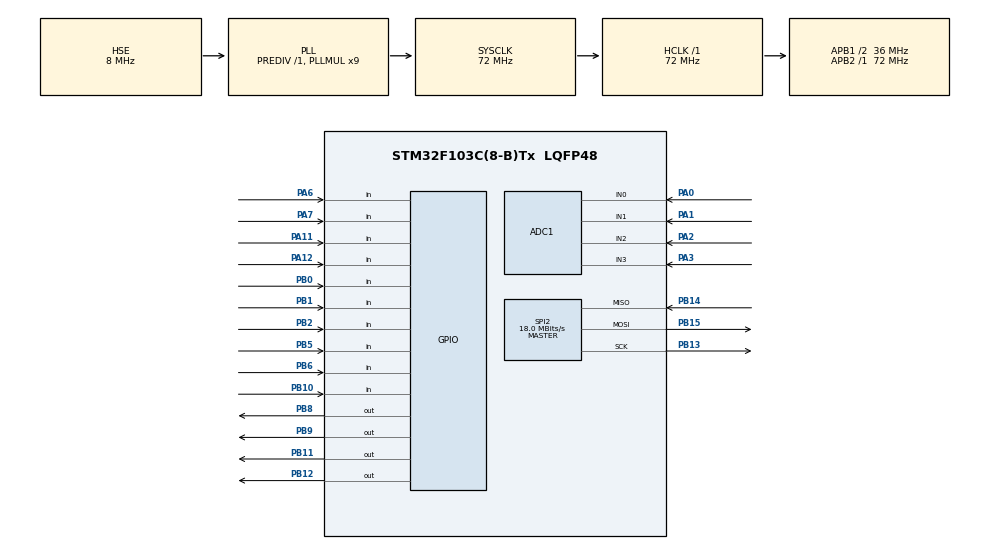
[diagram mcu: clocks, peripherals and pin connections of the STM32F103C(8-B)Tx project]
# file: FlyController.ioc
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ADC1.Channel-0\#ChannelRegularConversion=ADC_CHANNEL_0
ADC1.Channel-1\#ChannelRegularConversion=ADC_CHANNEL_1
ADC1.Channel-2\#ChannelRegularConversion=ADC_CHANNEL_2
ADC1.Channel-3\#ChannelRegularConversion=ADC_CHANNEL_3
ADC1.ContinuousConvMode=DISABLE
ADC1.DataAlign=ADC_DATAALIGN_RIGHT
ADC1.EnableInjectedConversion=DISABLE
ADC1.InjNumberOfConversion=0
ADC1.NbrOfConversion=4
ADC1.NbrOfConversionFlag=1
ADC1.Rank-0\#ChannelRegularConversion=1
ADC1.Rank-1\#ChannelRegularConversion=2
ADC1.Rank-2\#ChannelRegularConversion=3
ADC1.Rank-3\#ChannelRegularConversion=4
ADC1.SamplingTime-0\#ChannelRegularConversion=ADC_SAMPLETIME_71CYCLES_5
ADC1.SamplingTime-1\#ChannelRegularConversion=ADC_SAMPLETIME_71CYCLES_5
ADC1.SamplingTime-2\#ChannelRegularConversion=ADC_SAMPLETIME_71CYCLES_5
ADC1.SamplingTime-3\#ChannelRegularConversion=ADC_SAMPLETIME_71CYCLES_5
ADC1.master=1
Dma.ADC1.0.Direction=DMA_PERIPH_TO_MEMORY
Dma.ADC1.0.Instance=DMA1_Channel1
Dma.ADC1.0.MemDataAlignment=DMA_MDATAALIGN_HALFWORD
Dma.ADC1.0.MemInc=DMA_MINC_ENABLE
Dma.ADC1.0.Mode=DMA_NORMAL
Dma.ADC1.0.PeriphDataAlignment=DMA_PDATAALIGN_HALFWORD
Dma.ADC1.0.PeriphInc=DMA_PINC_DISABLE
Dma.ADC1.0.Priority=DMA_PRIORITY_LOW
Dma.Request0=ADC1
Mcu.Family=STM32F1
Mcu.Name=STM32F103C(8-B)Tx
Mcu.Package=LQFP48
NVIC.ADC1_2_IRQn=true\:0\:0\:true\:false\:true\:true\:true\:true
NVIC.DMA1_Channel1_IRQn=true\:0\:0\:false\:false\:true\:false\:true\:true
NVIC.PriorityGroup=NVIC_PRIORITYGROUP_4
NVIC.TIM2_IRQn=true\:0\:0\:true\:false\:true\:true\:true\:true
NVIC.TIM3_IRQn=true\:0\:0\:true\:false\:true\:true\:true\:true
PA0-WKUP.Signal=ADCx_IN0
PA1.Signal=ADCx_IN1
PA11.GPIO_PuPd=GPIO_PULLUP
PA11.Signal=GPIO_Input
PA12.GPIO_PuPd=GPIO_PULLUP
PA12.Signal=GPIO_Input
PA13.Mode=Serial_Wire
PA13.Signal=SYS_JTMS-SWDIO
PA14.Mode=Serial_Wire
PA14.Signal=SYS_JTCK-SWCLK
PA2.Signal=ADCx_IN2
PA3.Signal=ADCx_IN3
PA6.GPIO_PuPd=GPIO_PULLUP
PA6.Signal=GPIO_Input
PA7.GPIO_PuPd=GPIO_PULLUP
PA7.Signal=GPIO_Input
PB0.GPIO_PuPd=GPIO_PULLUP
PB0.Signal=GPIO_Input
PB1.GPIO_PuPd=GPIO_PULLUP
PB1.Signal=GPIO_Input
PB10.GPIO_PuPd=GPIO_PULLUP
PB10.Signal=GPIO_Input
PB11.GPIO_ModeDefaultOutputPP=GPIO_MODE_OUTPUT_PP
PB11.GPIO_Speed=GPIO_SPEED_FREQ_HIGH
PB11.Signal=GPIO_Output
PB12.GPIO_Speed=GPIO_SPEED_FREQ_HIGH
PB12.Signal=GPIO_Output
PB13.Mode=Full_Duplex_Master
PB13.Signal=SPI2_SCK
PB14.Mode=Full_Duplex_Master
PB14.Signal=SPI2_MISO
PB15.Mode=Full_Duplex_Master
PB15.Signal=SPI2_MOSI
PB2.GPIO_PuPd=GPIO_PULLUP
PB2.Signal=GPIO_Input
PB5.GPIO_PuPd=GPIO_PULLUP
PB5.Signal=GPIO_Input
PB6.GPIO_PuPd=GPIO_PULLUP
PB6.Signal=GPIO_Input
PB8.GPIO_Speed=GPIO_SPEED_FREQ_HIGH
PB8.PinState=GPIO_PIN_SET
PB8.Signal=GPIO_Output
PB9.GPIO_Speed=GPIO_SPEED_FREQ_HIGH
PB9.PinState=GPIO_PIN_SET
PB9.Signal=GPIO_Output
PD0-OSC_IN.Mode=HSE-External-Oscillator
PD0-OSC_IN.Signal=RCC_OSC_IN
PD1-OSC_OUT.Mode=HSE-External-Oscillator
PD1-OSC_OUT.Signal=RCC_OSC_OUT
ProjectManager.HeapSize=0x200
ProjectManager.StackSize=0x400
ProjectManager.TargetToolchain=MDK-ARM V5.32
RCC.ADCPresc=RCC_ADCPCLK2_DIV6
RCC.AHBFreq_Value=72000000
RCC.APB1CLKDivider=RCC_HCLK_DIV2
RCC.APB1Freq_Value=36000000
RCC.APB1TimFreq_Value=72000000
RCC.APB2Freq_Value=72000000
RCC.APB2TimFreq_Value=72000000
RCC.HCLKFreq_Value=72000000
RCC.PLLMUL=RCC_PLL_MUL9
RCC.PLLSourceVirtual=RCC_PLLSOURCE_HSE
RCC.SYSCLKFreq_VALUE=72000000
RCC.SYSCLKSource=RCC_SYSCLKSOURCE_PLLCLK
RCC.USBFreq_Value=72000000
SH.ADCx_IN0.0=ADC1_IN0,IN0
SH.ADCx_IN1.0=ADC1_IN1,IN1
SH.ADCx_IN2.0=ADC1_IN2,IN2
SH.ADCx_IN3.0=ADC1_IN3,IN3
SPI2.CalculateBaudRate=18.0 MBits/s
SPI2.Direction=SPI_DIRECTION_2LINES
SPI2.Mode=SPI_MODE_MASTER
SPI2.VirtualType=VM_MASTER
TIM2.AutoReloadPreload=TIM_AUTORELOAD_PRELOAD_ENABLE
TIM2.Period=1000 - 1
TIM2.Prescaler=72 - 1
TIM3.AutoReloadPreload=TIM_AUTORELOAD_PRELOAD_ENABLE
TIM3.Period=1000 -1
TIM3.Prescaler=72 - 1
VP_TIM2_VS_ClockSourceINT.Mode=Internal
VP_TIM3_VS_ClockSourceINT.Mode=Internal
board=custom

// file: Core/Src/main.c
/* USER CODE BEGIN Header */
/**
  ******************************************************************************
  * @file           : main.c
  * @brief          : Main program body
  ******************************************************************************
  * @attention
  *
  * Copyright (c) 2025 STMicroelectronics.
  * All rights reserved.
  *
  * This software is licensed under terms that can be found in the LICENSE file
  * in the root directory of this software component.
  * If no LICENSE file comes with this software, it is provided AS-IS.
  *
  ******************************************************************************
  */
/* USER CODE END Header */
#include "main.h"
#include "adc.h"
#include "dma.h"
#include "spi.h"
#include "tim.h"
#include "gpio.h"

/* USER CODE BEGIN Includes */
#include "OLED.h"
#include "OLED_Data.h"
#include "Menu.h"
#include "Switch.h"
#include "Key.h"
#include "NRF.h"
#include "Delay.h"
#include <stdbool.h>
/* USER CODE END Includes */

/* USER CODE BEGIN PTD */
uint8_t keynum = 0;
/* USER CODE END PTD */

void SystemClock_Config(void);

int main(void)
{

  /* MCU Configuration--------------------------------------------------------*/

  /* Reset of all peripherals, Initializes the Flash interface and the Systick. */
  HAL_Init();

  /* Configure the system clock */
  SystemClock_Config();

  /* Initialize all configured peripherals */
  MX_GPIO_Init();
  MX_DMA_Init();
  MX_SPI2_Init();
  MX_TIM2_Init();
  MX_ADC1_Init();
  MX_TIM3_Init();
  /* USER CODE BEGIN 2 */
  OLED_Init();
  H24_Init();
  Menu_Start();
  H24_Init();
  HAL_TIM_Base_Start_IT(&htim2);
  HAL_TIM_Base_Start_IT(&htim3);
  HAL_ADCEx_Calibration_Start(&hadc1);
  HAL_ADC_Start_DMA(&hadc1, (uint32_t *)Channel_Value, 4);    //开启摇杆数模转换
  /* USER CODE END 2 */

  /* Infinite loop */
  while (1)
  {

    /* USER CODE BEGIN 3 */
    while (1) {
      uint8_t state = Menu_Home();
      if (state == 1) {
        state = Menu_One();
        if (state == 1) {
          Menu_Channel_Test();
        } else if (state == 2) {
          Menu_Channel_Set();
        } else if (state == 3) {
          Menu_Balance_Set();
        }
      } else if (state == 2) { Menu_BIND(); }
    }
  }
  /* USER CODE END 3 */
}

void SystemClock_Config(void)
{
  RCC_OscInitTypeDef RCC_OscInitStruct = {0};
  RCC_ClkInitTypeDef RCC_ClkInitStruct = {0};
  RCC_PeriphCLKInitTypeDef PeriphClkInit = {0};

  /** Initializes the RCC Oscillators according to the specified parameters
  * in the RCC_OscInitTypeDef structure.
  */
  RCC_OscInitStruct.OscillatorType = RCC_OSCILLATORTYPE_HSE;
  RCC_OscInitStruct.HSEState = RCC_HSE_ON;
  RCC_OscInitStruct.HSEPredivValue = RCC_HSE_PREDIV_DIV1;
  RCC_OscInitStruct.HSIState = RCC_HSI_ON;
  RCC_OscInitStruct.PLL.PLLState = RCC_PLL_ON;
  RCC_OscInitStruct.PLL.PLLSource = RCC_PLLSOURCE_HSE;
  RCC_OscInitStruct.PLL.PLLMUL = RCC_PLL_MUL9;
  if (HAL_RCC_OscConfig(&RCC_OscInitStruct) != HAL_OK)
  {
    Error_Handler();
  }

  /** Initializes the CPU, AHB and APB buses clocks
  */
  RCC_ClkInitStruct.ClockType = RCC_CLOCKTYPE_HCLK|RCC_CLOCKTYPE_SYSCLK
                              |RCC_CLOCKTYPE_PCLK1|RCC_CLOCKTYPE_PCLK2;
  RCC_ClkInitStruct.SYSCLKSource = RCC_SYSCLKSOURCE_PLLCLK;
  RCC_ClkInitStruct.AHBCLKDivider = RCC_SYSCLK_DIV1;
  RCC_ClkInitStruct.APB1CLKDivider = RCC_HCLK_DIV2;
  RCC_ClkInitStruct.APB2CLKDivider = RCC_HCLK_DIV1;

  if (HAL_RCC_ClockConfig(&RCC_ClkInitStruct, FLASH_LATENCY_2) != HAL_OK)
  {
    Error_Handler();
  }
  PeriphClkInit.PeriphClockSelection = RCC_PERIPHCLK_ADC;
  PeriphClkInit.AdcClockSelection = RCC_ADCPCLK2_DIV6;
  if (HAL_RCCEx_PeriphCLKConfig(&PeriphClkInit) != HAL_OK)
  {
    Error_Handler();
  }
}

void Error_Handler(void)
{
  __disable_irq();
  while (1)
  {
  }
}
